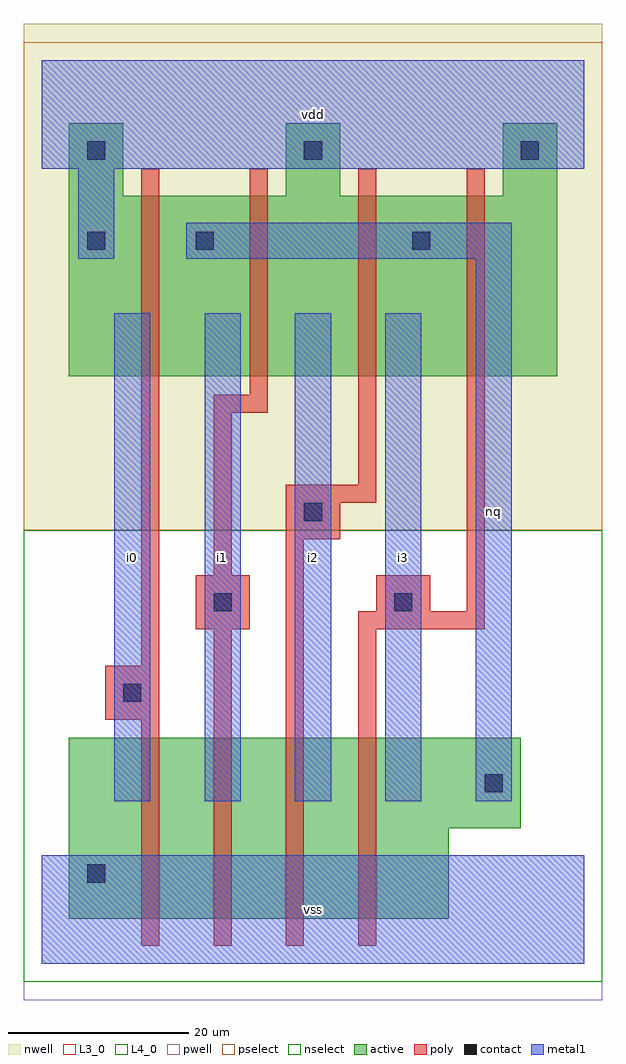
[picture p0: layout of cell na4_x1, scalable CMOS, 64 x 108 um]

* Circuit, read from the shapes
.subckt na4_x1 i0 i1 i2 i3 nq vdd vss
M1 n1 i0 vss VSUBS nfet w=20u l=2u
M2 n2 i1 n1 VSUBS nfet w=20u l=2u
M3 n3 i2 n2 VSUBS nfet w=20u l=2u
M4 nq i3 n3 VSUBS nfet w=20u l=2u
M5 nq i0 vdd n4 pfet w=20u l=2u
M6 vdd i1 nq n4 pfet w=20u l=2u
M7 nq i2 vdd n4 pfet w=20u l=2u
M8 vdd i3 nq n4 pfet w=20u l=2u
.ends

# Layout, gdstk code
import gdstk
lib = gdstk.Library(unit=1e-6, precision=1e-09)
def R(c, l, rs):  # rectangles x0, y0, x1, y1
    for r in rs: c.add(gdstk.rectangle(r[:2], r[2:], *l))
def A(c, l, x, y, w, h, nx, ny, dx, dy):  # array of equal rectangles
    R(c, l, [(x+i*dx, y+j*dy, x+i*dx+w, y+j*dy+h) for i in range(nx) for j in range(ny)])
L3_0 = (3, 0)
L4_0 = (4, 0)
contact = (25, 0)
pwell = (41, 0)
nwell = (42, 0)
active = (43, 0)
pselect = (44, 0)
nselect = (45, 0)
poly = (46, 0)
metal1 = (49, 0)

na4_x1 = lib.new_cell('na4_x1')
R(na4_x1, L3_0, [(3,5,45,15), (3,15,53,25)])
A(na4_x1, L4_0, 3, 85, 6, 8, 3, 1, 24, 0)
R(na4_x1, L4_0, [(3,65,57,85)])
A(na4_x1, contact, 5, 89, 2, 2, 3, 1, 24, 0)
R(na4_x1, contact, [(5,9,7,11), (49,19,51,21), (9,29,11,31), (19,39,21,41), (39,39,41,41), (29,49,31,51), (5,79,7,81), (17,79,19,81), (41,79,43,81)])
R(na4_x1, pwell, [(-2,-4,62,48)])
R(na4_x1, nwell, [(-2,48,62,104)])
A(na4_x1, active, 3, 85, 6, 8, 3, 1, 24, 0)
R(na4_x1, active, [(3,5,45,15), (3,15,53,25), (3,65,57,85)])
R(na4_x1, pselect, [(-2,48,62,102)])
R(na4_x1, nselect, [(-2,-2,62,48)])
R(na4_x1, poly, [(11,2,13,27), (19,2,21,37), (27,2,29,47), (35,2,37,37), (7,27,13,33), (11,33,13,88), (17,37,23,43), (35,37,49,39), (37,39,43,43), (47,39,49,88), (19,43,21,61), (27,47,33,51), (27,51,37,53), (35,53,37,88), (19,61,25,63), (23,63,25,88)])
A(na4_x1, metal1, 8, 18, 4, 54, 4, 1, 10, 0)
R(na4_x1, metal1, [(0,0,60,12), (48,18,52,78), (4,78,8,88), (16,78,52,82), (0,88,60,100)])
na4_x1.add(gdstk.Label('i0', (10,45), layer=49, texttype=0))
na4_x1.add(gdstk.Label('i1', (20,45), layer=49, texttype=0))
na4_x1.add(gdstk.Label('vss', (30,6), layer=49, texttype=0))
na4_x1.add(gdstk.Label('i2', (30,45), layer=49, texttype=0))
na4_x1.add(gdstk.Label('i3', (40,45), layer=49, texttype=0))
na4_x1.add(gdstk.Label('vdd', (30,94), layer=49, texttype=0))
na4_x1.add(gdstk.Label('nq', (50,50), layer=49, texttype=0))

lib.write_gds('na4_x1.gds')
